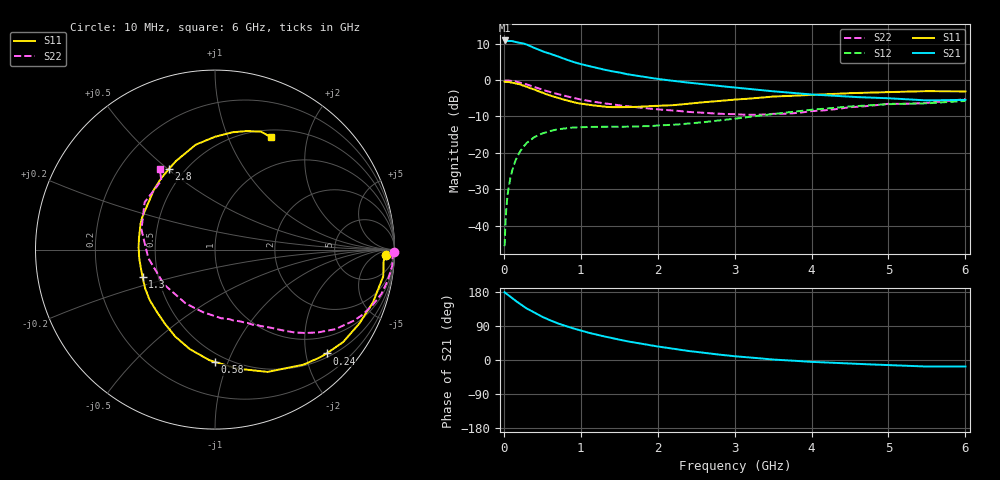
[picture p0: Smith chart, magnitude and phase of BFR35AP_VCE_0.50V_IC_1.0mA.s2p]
! Infineon Technologies  Discrete & RF Semiconductors
! BFR35AP
! VCE = 0.50 V,  IC =  1.0 mA
! Common Emitter S-Parameters:  Nov 2015
# GHz  S  MA  R  50
!  f  S11  S21  S12  S22
! GHz  MAG  ANG  MAG  ANG  MAG  ANG  MAG  ANG
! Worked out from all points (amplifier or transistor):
!   210 points, 10 MHz to 6 GHz, reference 50 ohm
!   highest |S21| = 10.9 dB at 10 MHz (marker M1)
!   |S21| within 3 dB of that: start of sweep to 504.6 MHz
!   unconditionally stable (mu >= 1): 1.262 GHz to end of sweep
!   at 185 MHz: K = 0.18, MSG = 15.5 dB, |S12| = -20.6 dB
!   at 1.52 GHz: K = 1.15, MAG = 5.1 dB, |S12| = -12.8 dB
!   at 6 GHz: K = 1.12, MAG = -2.0 dB, |S12| = -5.7 dB
!   S11 on the Smith chart (normalised r, x): 10 MHz: 28, -19; 240 MHz: 0.58, -2.42; 580 MHz: 0.44, -0.90; 1.3 GHz: 0.41, -0.15; 2.8 GHz: 0.41, +0.50; 6 GHz: 0.59, +1.44
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0.01  0.9517 -1.9  3.512 178.8  0.0052 89.3  0.9974 -0.9
0.02  0.9417 -3.8  3.459 176.8  0.0103 88.1  0.9896 -2.0
0.035  0.9444 -6.5  3.46 174.6  0.0186 85.2  0.9903 -3.6
0.075  0.9354 -13.7  3.458 168.5  0.0397 80.2  0.984 -7.6
0.1  0.9279 -18.5  3.466 164.7  0.0526 78.2  0.978 -10.1
0.15  0.9037 -27.1  3.36 156.5  0.0776 72.4  0.9594 -14.9
0.24  0.8498 -42.9  3.213 143.7  0.1157 62.6  0.9061 -22.7
0.3  0.8084 -52.5  3.078 135.5  0.1375 57.7  0.8705 -27.0
0.4  0.742 -66.7  2.769 124.7  0.1652 49.6  0.8043 -33.4
0.5  0.6735 -79.7  2.496 113.9  0.1847 43.0  0.7388 -38.6
0.58  0.6251 -90.2  2.343 106.7  0.1965 38.7  0.6958 -41.8
0.7  0.572 -104.2  2.124 96.9  0.2106 33.5  0.6434 -45.9
0.8  0.533 -114.5  1.94 89.9  0.2175 30.0  0.6034 -48.8
1.02  0.471 -134.7  1.641 76.6  0.2249 24.9  0.5365 -54.3
1.3  0.4321 -159.1  1.397 62.5  0.2289 21.0  0.4797 -60.9
1.6  0.4258 178.5  1.208 49.5  0.2294 19.8  0.4396 -67.7
2.02  0.4444 154.5  1.032 35.1  0.2382 21.8  0.3944 -78.9
2.8  0.517 120.0  0.831 14.2  0.2793 25.2  0.345 -109.2
3.1  0.5477 110.9  0.773 8.3  0.3038 24.7  0.3356 -124.4
4.1  0.6344 88.1  0.626 -5.8  0.3992 17.8  0.3795 -177.6
5.1  0.6884 73.5  0.555 -14.2  0.4692 5.5  0.4715 142.4
6  0.6991 63.6  0.535 -17.0  0.5168 -3.8  0.5462 124.3
